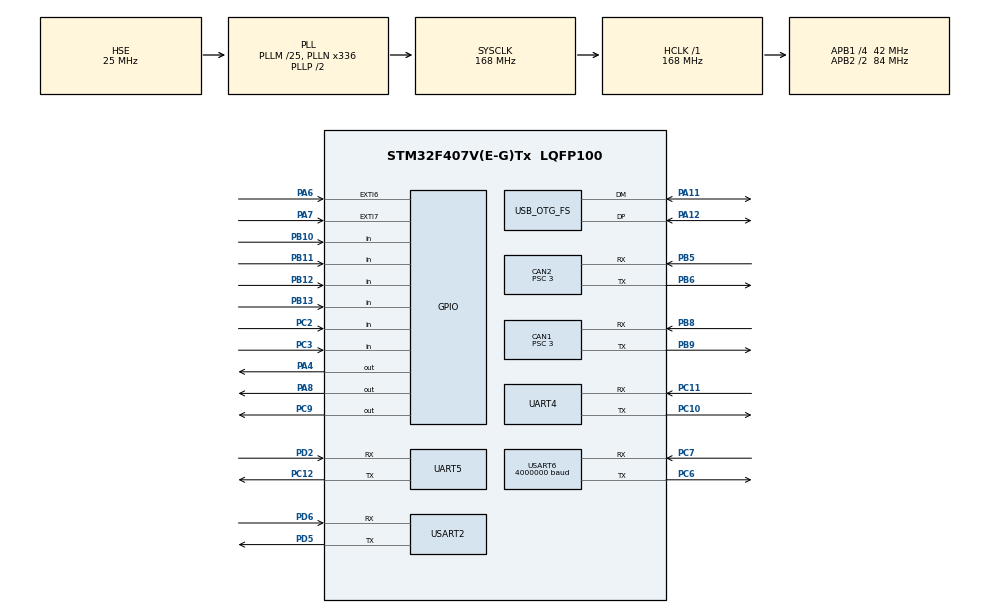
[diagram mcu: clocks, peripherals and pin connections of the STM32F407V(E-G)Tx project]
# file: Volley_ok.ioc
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CAN1.BS1=CAN_BS1_6TQ
CAN1.BS2=CAN_BS2_7TQ
CAN1.CalculateBaudRate=1000000
CAN1.CalculateTimeBit=1000
CAN1.CalculateTimeQuantum=71.42857142857143
CAN1.Prescaler=3
CAN2.BS1=CAN_BS1_6TQ
CAN2.BS2=CAN_BS2_7TQ
CAN2.CalculateBaudRate=1000000
CAN2.CalculateTimeBit=1000
CAN2.CalculateTimeQuantum=71.42857142857143
CAN2.Prescaler=3
Dma.Request0=USART2_RX
Dma.Request1=USART2_TX
Dma.Request2=USART6_RX
Dma.Request3=USART6_TX
Dma.Request4=UART4_RX
Dma.Request5=UART4_TX
Dma.Request6=UART5_RX
Dma.Request7=UART5_TX
Dma.UART4_RX.4.Direction=DMA_PERIPH_TO_MEMORY
Dma.UART4_RX.4.FIFOMode=DMA_FIFOMODE_DISABLE
Dma.UART4_RX.4.Instance=DMA1_Stream2
Dma.UART4_RX.4.MemDataAlignment=DMA_MDATAALIGN_BYTE
Dma.UART4_RX.4.MemInc=DMA_MINC_ENABLE
Dma.UART4_RX.4.Mode=DMA_NORMAL
Dma.UART4_RX.4.PeriphDataAlignment=DMA_PDATAALIGN_BYTE
Dma.UART4_RX.4.PeriphInc=DMA_PINC_DISABLE
Dma.UART4_RX.4.Priority=DMA_PRIORITY_LOW
Dma.UART4_TX.5.Direction=DMA_MEMORY_TO_PERIPH
Dma.UART4_TX.5.FIFOMode=DMA_FIFOMODE_DISABLE
Dma.UART4_TX.5.Instance=DMA1_Stream4
Dma.UART4_TX.5.MemDataAlignment=DMA_MDATAALIGN_BYTE
Dma.UART4_TX.5.MemInc=DMA_MINC_ENABLE
Dma.UART4_TX.5.Mode=DMA_NORMAL
Dma.UART4_TX.5.PeriphDataAlignment=DMA_PDATAALIGN_BYTE
Dma.UART4_TX.5.PeriphInc=DMA_PINC_DISABLE
Dma.UART4_TX.5.Priority=DMA_PRIORITY_LOW
Dma.UART5_RX.6.Direction=DMA_PERIPH_TO_MEMORY
Dma.UART5_RX.6.FIFOMode=DMA_FIFOMODE_DISABLE
Dma.UART5_RX.6.Instance=DMA1_Stream0
Dma.UART5_RX.6.MemDataAlignment=DMA_MDATAALIGN_BYTE
Dma.UART5_RX.6.MemInc=DMA_MINC_ENABLE
Dma.UART5_RX.6.Mode=DMA_NORMAL
Dma.UART5_RX.6.PeriphDataAlignment=DMA_PDATAALIGN_BYTE
Dma.UART5_RX.6.PeriphInc=DMA_PINC_DISABLE
Dma.UART5_RX.6.Priority=DMA_PRIORITY_LOW
Dma.UART5_TX.7.Direction=DMA_MEMORY_TO_PERIPH
Dma.UART5_TX.7.FIFOMode=DMA_FIFOMODE_DISABLE
Dma.UART5_TX.7.Instance=DMA1_Stream7
Dma.UART5_TX.7.MemDataAlignment=DMA_MDATAALIGN_BYTE
Dma.UART5_TX.7.MemInc=DMA_MINC_ENABLE
Dma.UART5_TX.7.Mode=DMA_NORMAL
Dma.UART5_TX.7.PeriphDataAlignment=DMA_PDATAALIGN_BYTE
Dma.UART5_TX.7.PeriphInc=DMA_PINC_DISABLE
Dma.UART5_TX.7.Priority=DMA_PRIORITY_LOW
Dma.USART2_RX.0.Direction=DMA_PERIPH_TO_MEMORY
Dma.USART2_RX.0.FIFOMode=DMA_FIFOMODE_DISABLE
Dma.USART2_RX.0.Instance=DMA1_Stream5
Dma.USART2_RX.0.MemDataAlignment=DMA_MDATAALIGN_BYTE
Dma.USART2_RX.0.MemInc=DMA_MINC_ENABLE
Dma.USART2_RX.0.Mode=DMA_NORMAL
Dma.USART2_RX.0.PeriphDataAlignment=DMA_PDATAALIGN_BYTE
Dma.USART2_RX.0.PeriphInc=DMA_PINC_DISABLE
Dma.USART2_RX.0.Priority=DMA_PRIORITY_LOW
Dma.USART2_TX.1.Direction=DMA_MEMORY_TO_PERIPH
Dma.USART2_TX.1.FIFOMode=DMA_FIFOMODE_DISABLE
Dma.USART2_TX.1.Instance=DMA1_Stream6
Dma.USART2_TX.1.MemDataAlignment=DMA_MDATAALIGN_BYTE
Dma.USART2_TX.1.MemInc=DMA_MINC_ENABLE
Dma.USART2_TX.1.Mode=DMA_NORMAL
Dma.USART2_TX.1.PeriphDataAlignment=DMA_PDATAALIGN_BYTE
Dma.USART2_TX.1.PeriphInc=DMA_PINC_DISABLE
Dma.USART2_TX.1.Priority=DMA_PRIORITY_LOW
Dma.USART6_RX.2.Direction=DMA_PERIPH_TO_MEMORY
Dma.USART6_RX.2.FIFOMode=DMA_FIFOMODE_DISABLE
Dma.USART6_RX.2.Instance=DMA2_Stream1
Dma.USART6_RX.2.MemDataAlignment=DMA_MDATAALIGN_BYTE
Dma.USART6_RX.2.MemInc=DMA_MINC_ENABLE
Dma.USART6_RX.2.Mode=DMA_NORMAL
Dma.USART6_RX.2.PeriphDataAlignment=DMA_PDATAALIGN_BYTE
Dma.USART6_RX.2.PeriphInc=DMA_PINC_DISABLE
Dma.USART6_RX.2.Priority=DMA_PRIORITY_VERY_HIGH
Dma.USART6_TX.3.Direction=DMA_MEMORY_TO_PERIPH
Dma.USART6_TX.3.FIFOMode=DMA_FIFOMODE_DISABLE
Dma.USART6_TX.3.Instance=DMA2_Stream6
Dma.USART6_TX.3.MemDataAlignment=DMA_MDATAALIGN_BYTE
Dma.USART6_TX.3.MemInc=DMA_MINC_ENABLE
Dma.USART6_TX.3.Mode=DMA_NORMAL
Dma.USART6_TX.3.PeriphDataAlignment=DMA_PDATAALIGN_BYTE
Dma.USART6_TX.3.PeriphInc=DMA_PINC_DISABLE
Dma.USART6_TX.3.Priority=DMA_PRIORITY_VERY_HIGH
FREERTOS.Tasks01=defaultTask,24,128,StartDefaultTask,Default,NULL,Dynamic,NULL,NULL
Mcu.Family=STM32F4
Mcu.Name=STM32F407V(E-G)Tx
Mcu.Package=LQFP100
NVIC.CAN1_RX0_IRQn=true\:5\:0\:false\:false\:true\:true\:true\:true\:true
NVIC.CAN1_TX_IRQn=true\:5\:0\:false\:false\:true\:true\:true\:true\:true
NVIC.CAN2_RX1_IRQn=true\:5\:0\:false\:false\:true\:true\:true\:true\:true
NVIC.CAN2_TX_IRQn=true\:5\:0\:false\:false\:true\:true\:true\:true\:true
NVIC.DMA1_Stream0_IRQn=true\:5\:0\:false\:false\:true\:true\:false\:true\:true
NVIC.DMA1_Stream2_IRQn=true\:5\:0\:false\:false\:true\:true\:false\:true\:true
NVIC.DMA1_Stream4_IRQn=true\:5\:0\:false\:false\:true\:true\:false\:true\:true
NVIC.DMA1_Stream5_IRQn=true\:5\:0\:false\:false\:true\:true\:false\:true\:true
NVIC.DMA1_Stream6_IRQn=true\:5\:0\:false\:false\:true\:true\:false\:true\:true
NVIC.DMA1_Stream7_IRQn=true\:5\:0\:false\:false\:true\:true\:false\:true\:true
NVIC.DMA2_Stream1_IRQn=true\:5\:0\:false\:false\:true\:true\:false\:true\:true
NVIC.DMA2_Stream6_IRQn=true\:5\:0\:false\:false\:true\:true\:false\:true\:true
NVIC.EXTI9_5_IRQn=true\:5\:0\:false\:false\:true\:true\:true\:true\:true
NVIC.OTG_FS_IRQn=true\:5\:0\:false\:false\:true\:true\:true\:true\:true
NVIC.PriorityGroup=NVIC_PRIORITYGROUP_4
NVIC.TIM1_UP_TIM10_IRQn=true\:15\:0\:false\:false\:true\:false\:false\:true\:true
NVIC.TimeBase=TIM1_UP_TIM10_IRQn
NVIC.TimeBaseIP=TIM1
NVIC.UART4_IRQn=true\:5\:0\:false\:false\:true\:true\:false\:true\:true
NVIC.UART5_IRQn=true\:5\:0\:false\:false\:true\:true\:false\:true\:true
NVIC.USART2_IRQn=true\:5\:0\:false\:false\:true\:true\:false\:true\:true
NVIC.USART6_IRQn=true\:5\:0\:false\:false\:true\:true\:false\:true\:true
PA11.GPIO_PuPd=GPIO_PULLDOWN
PA11.Mode=Device_Only
PA11.Signal=USB_OTG_FS_DM
PA12.GPIO_PuPd=GPIO_PULLDOWN
PA12.Mode=Device_Only
PA12.Signal=USB_OTG_FS_DP
PA13.Mode=Serial_Wire
PA13.Signal=SYS_JTMS-SWDIO
PA14.Mode=Serial_Wire
PA14.Signal=SYS_JTCK-SWCLK
PA4.GPIO_Speed=GPIO_SPEED_FREQ_LOW
PA4.PinState=GPIO_PIN_RESET
PA4.Signal=GPIO_Output
PA6.GPIO_ModeDefaultEXTI=GPIO_MODE_IT_FALLING
PA6.GPIO_PuPd=GPIO_PULLUP
PA6.Signal=GPXTI6
PA7.GPIO_ModeDefaultEXTI=GPIO_MODE_IT_FALLING
PA7.GPIO_PuPd=GPIO_PULLUP
PA7.Signal=GPXTI7
PA8.Signal=GPIO_Output
PB10.Signal=GPIO_Input
PB11.Signal=GPIO_Input
PB12.Signal=GPIO_Input
PB13.Signal=GPIO_Input
PB5.Mode=CAN_Activate
PB5.Signal=CAN2_RX
PB6.Mode=CAN_Activate
PB6.Signal=CAN2_TX
PB8.Mode=CAN_Activate
PB8.Signal=CAN1_RX
PB9.Mode=CAN_Activate
PB9.Signal=CAN1_TX
PC10.Mode=Asynchronous
PC10.Signal=UART4_TX
PC11.Mode=Asynchronous
PC11.Signal=UART4_RX
PC12.Mode=Asynchronous
PC12.Signal=UART5_TX
PC2.Signal=GPIO_Input
PC3.Signal=GPIO_Input
PC6.Mode=Asynchronous
PC6.Signal=USART6_TX
PC7.Mode=Asynchronous
PC7.Signal=USART6_RX
PC9.Signal=GPIO_Output
PD2.Mode=Asynchronous
PD2.Signal=UART5_RX
PD5.Mode=Asynchronous
PD5.Signal=USART2_TX
PD6.Mode=Asynchronous
PD6.Signal=USART2_RX
PH0-OSC_IN.Mode=HSE-External-Oscillator
PH0-OSC_IN.Signal=RCC_OSC_IN
PH1-OSC_OUT.Mode=HSE-External-Oscillator
PH1-OSC_OUT.Signal=RCC_OSC_OUT
ProjectManager.HeapSize=0x200
ProjectManager.StackSize=0x400
ProjectManager.TargetToolchain=MDK-ARM V5.32
RCC.48MHZClocksFreq_Value=48000000
RCC.AHBFreq_Value=168000000
RCC.APB1CLKDivider=RCC_HCLK_DIV4
RCC.APB1Freq_Value=42000000
RCC.APB1TimFreq_Value=84000000
RCC.APB2CLKDivider=RCC_HCLK_DIV2
RCC.APB2Freq_Value=84000000
RCC.APB2TimFreq_Value=168000000
RCC.CortexFreq_Value=168000000
RCC.HCLKFreq_Value=168000000
RCC.HSE_VALUE=25000000
RCC.HSI_VALUE=16000000
RCC.LSE_VALUE=32768
RCC.PLLM=25
RCC.PLLN=336
RCC.PLLQ=7
RCC.SYSCLKFreq_VALUE=168000000
RCC.SYSCLKSource=RCC_SYSCLKSOURCE_PLLCLK
RCC.VCOOutputFreq_Value=336000000
UART4.VirtualMode=Asynchronous
UART5.VirtualMode=Asynchronous
USART2.VirtualMode=VM_ASYNC
USART6.BaudRate=4000000
USART6.VirtualMode=VM_ASYNC
USB_DEVICE.CLASS_NAME_FS=CDC
USB_DEVICE.VirtualMode-CDC_FS=Cdc
USB_DEVICE.VirtualModeFS=Cdc_FS
USB_OTG_FS.VirtualMode=Device_Only
VP_FREERTOS_VS_CMSIS_V2.Mode=CMSIS_V2
VP_SYS_VS_tim1.Mode=TIM1
VP_USB_DEVICE_VS_USB_DEVICE_CDC_FS.Mode=CDC_FS
board=custom

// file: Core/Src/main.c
/* USER CODE BEGIN Header */
/**
  ******************************************************************************
  * @file           : main.c
  * @brief          : Main program body
  ******************************************************************************
  * @attention
  *
  * Copyright (c) 2026 STMicroelectronics.
  * All rights reserved.
  *
  * This software is licensed under terms that can be found in the LICENSE file
  * in the root directory of this software component.
  * If no LICENSE file comes with this software, it is provided AS-IS.
  *
  ******************************************************************************
  */
/* USER CODE END Header */
#include "main.h"
#include "cmsis_os.h"
#include "can.h"
#include "dma.h"
#include "usart.h"
#include "usb_device.h"
#include "gpio.h"

/* USER CODE BEGIN Includes */
#include "Task_Init.h"
/* USER CODE END Includes */

void SystemClock_Config(void);
void MX_FREERTOS_Init(void);

int main(void)
{

  /* MCU Configuration--------------------------------------------------------*/

  /* Reset of all peripherals, Initializes the Flash interface and the Systick. */
  HAL_Init();

  /* Configure the system clock */
  SystemClock_Config();

  /* Initialize all configured peripherals */
  MX_GPIO_Init();
  MX_DMA_Init();
  MX_CAN1_Init();
  MX_CAN2_Init();
  MX_USART2_UART_Init();
  MX_USART6_UART_Init();
  MX_UART4_Init();
  MX_UART5_Init();
  /* USER CODE BEGIN 2 */
	CanFilter_Init(&hcan2);
	HAL_CAN_Start(&hcan2);
	HAL_CAN_ActivateNotification(&hcan2, CAN_IT_RX_FIFO1_MSG_PENDING);

	CanFilter_Init(&hcan1);
	HAL_CAN_Start(&hcan1);
	HAL_CAN_ActivateNotification(&hcan1, CAN_IT_RX_FIFO0_MSG_PENDING);
  /* USER CODE END 2 */

  /* Init scheduler */
  osKernelInitialize();  /* Call init function for freertos objects (in cmsis_os2.c) */
  MX_FREERTOS_Init();

  /* Start scheduler */
  osKernelStart();

  /* We should never get here as control is now taken by the scheduler */

  /* Infinite loop */
  while (1)
  {

  }
}

void SystemClock_Config(void)
{
  RCC_OscInitTypeDef RCC_OscInitStruct = {0};
  RCC_ClkInitTypeDef RCC_ClkInitStruct = {0};

  /** Configure the main internal regulator output voltage
  */
  __HAL_RCC_PWR_CLK_ENABLE();
  __HAL_PWR_VOLTAGESCALING_CONFIG(PWR_REGULATOR_VOLTAGE_SCALE1);

  /** Initializes the RCC Oscillators according to the specified parameters
  * in the RCC_OscInitTypeDef structure.
  */
  RCC_OscInitStruct.OscillatorType = RCC_OSCILLATORTYPE_HSE;
  RCC_OscInitStruct.HSEState = RCC_HSE_ON;
  RCC_OscInitStruct.PLL.PLLState = RCC_PLL_ON;
  RCC_OscInitStruct.PLL.PLLSource = RCC_PLLSOURCE_HSE;
  RCC_OscInitStruct.PLL.PLLM = 25;
  RCC_OscInitStruct.PLL.PLLN = 336;
  RCC_OscInitStruct.PLL.PLLP = RCC_PLLP_DIV2;
  RCC_OscInitStruct.PLL.PLLQ = 7;
  if (HAL_RCC_OscConfig(&RCC_OscInitStruct) != HAL_OK)
  {
    Error_Handler();
  }

  /** Initializes the CPU, AHB and APB buses clocks
  */
  RCC_ClkInitStruct.ClockType = RCC_CLOCKTYPE_HCLK|RCC_CLOCKTYPE_SYSCLK
                              |RCC_CLOCKTYPE_PCLK1|RCC_CLOCKTYPE_PCLK2;
  RCC_ClkInitStruct.SYSCLKSource = RCC_SYSCLKSOURCE_PLLCLK;
  RCC_ClkInitStruct.AHBCLKDivider = RCC_SYSCLK_DIV1;
  RCC_ClkInitStruct.APB1CLKDivider = RCC_HCLK_DIV4;
  RCC_ClkInitStruct.APB2CLKDivider = RCC_HCLK_DIV2;

  if (HAL_RCC_ClockConfig(&RCC_ClkInitStruct, FLASH_LATENCY_5) != HAL_OK)
  {
    Error_Handler();
  }
}

void HAL_TIM_PeriodElapsedCallback(TIM_HandleTypeDef *htim)
{
  if (htim->Instance == TIM1)
  {
    HAL_IncTick();
  }
}

void Error_Handler(void)
{
  __disable_irq();
  while (1)
  {
  }
}

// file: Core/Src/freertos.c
/* USER CODE BEGIN Header */
/**
  ******************************************************************************
  * File Name          : freertos.c
  * Description        : Code for freertos applications
  ******************************************************************************
  * @attention
  *
  * Copyright (c) 2026 STMicroelectronics.
  * All rights reserved.
  *
  * This software is licensed under terms that can be found in the LICENSE file
  * in the root directory of this software component.
  * If no LICENSE file comes with this software, it is provided AS-IS.
  *
  ******************************************************************************
  */
/* USER CODE END Header */

#include "FreeRTOS.h"
#include "task.h"
#include "main.h"
#include "cmsis_os.h"

/* USER CODE BEGIN Includes */
#include "Task_Init.h"
#include "semphr.h"
#include "485_bus.h"

/* USER CODE END Includes */

/* USER CODE BEGIN PD */
extern UART_HandleTypeDef huart6;
SemaphoreHandle_t remote_semaphore;
SemaphoreHandle_t Remote_semaphore;

/* USER CODE END PD */

/* Definitions for defaultTask */
osThreadId_t defaultTaskHandle;
const osThreadAttr_t defaultTask_attributes = {
  .name = "defaultTask",
  .stack_size = 128 * 4,
  .priority = (osPriority_t) osPriorityNormal,
};

void StartDefaultTask(void *argument);

extern void MX_USB_DEVICE_Init(void);
void MX_FREERTOS_Init(void); /* (MISRA C 2004 rule 8.1) */

void MX_FREERTOS_Init(void) {

  /* USER CODE BEGIN RTOS_QUEUES */
  /* add queues, ... */
	  remote_semaphore=xSemaphoreCreateBinary();
	  Remote_semaphore =xSemaphoreCreateBinary();
  /* USER CODE END RTOS_QUEUES */

  /* Create the thread(s) */
  /* creation of defaultTask */
  defaultTaskHandle = osThreadNew(StartDefaultTask, NULL, &defaultTask_attributes);

}

void StartDefaultTask(void *argument)
{
  /* init code for USB_DEVICE */
  MX_USB_DEVICE_Init();
  /* USER CODE BEGIN StartDefaultTask */
	Task_Init();
	vTaskDelete(NULL);
  /* Infinite loop */
  for(;;)
  {
    osDelay(1);
  }
  /* USER CODE END StartDefaultTask */
}
